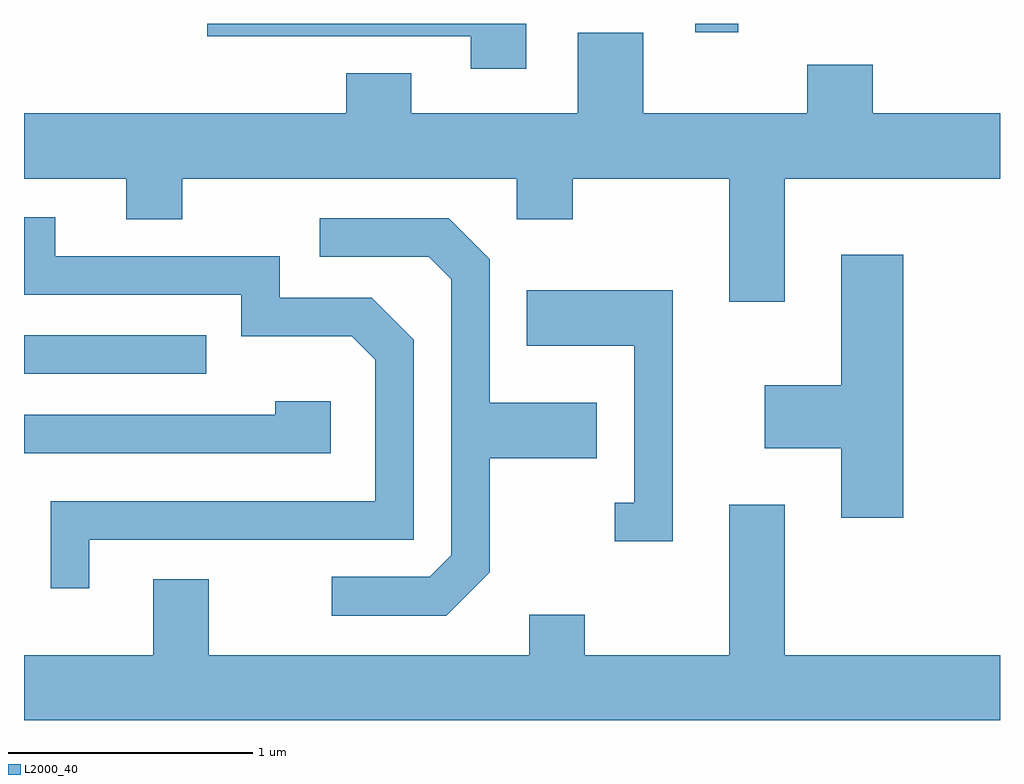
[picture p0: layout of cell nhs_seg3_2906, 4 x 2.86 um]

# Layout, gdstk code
import gdstk
lib = gdstk.Library(unit=1e-6, precision=1e-09)
def R(c, l, rs):  # rectangles x0, y0, x1, y1
    for r in rs: c.add(gdstk.rectangle(r[:2], r[2:], *l))
def P(c, l, *ps):  # polygons
    for p in ps: c.add(gdstk.Polygon(p, *l))
L2000_40 = (2000, 40)

nhs_seg3_2906 = lib.new_cell('nhs_seg3_2906')
R(nhs_seg3_2906, L2000_40, [(269.611,1218.456,270.358,1218.614), (272.361,1219.856,272.539,1219.892), (272.716,1219.891,273.568,1219.892)])
P(nhs_seg3_2906, L2000_40, [(271.669,1219.892),(270.361,1219.892),(270.361,1219.841),(271.441,1219.841),(271.441,1219.706),(271.669,1219.706)],
  [(272.729,1219.256),(273.611,1219.256),(273.611,1219.524),(273.089,1219.524),(273.089,1219.724),(272.821,1219.724),(272.821,1219.524),(272.149,1219.524),(272.149,1219.854),(271.881,1219.854),(271.881,1219.524),(271.199,1219.524),(271.199,1219.689),(270.931,1219.689),(270.931,1219.524),(269.611,1219.524),(269.611,1219.256),(270.031,1219.256),(270.031,1219.091),(270.259,1219.091),(270.259,1219.256),(271.631,1219.256),(271.631,1219.091),(271.859,1219.091),(271.859,1219.256),(272.501,1219.256),(272.501,1218.751),(272.729,1218.751)],
  [(269.879,1217.776),(271.209,1217.776),(271.209,1218.597),(271.037,1218.769),(270.659,1218.769),(270.659,1218.939),(269.739,1218.939),(269.739,1219.099),(269.611,1219.099),(269.611,1218.781),(270.501,1218.781),(270.501,1218.611),(270.954,1218.611),(271.051,1218.514),(271.051,1217.934),(269.721,1217.934),(269.721,1217.578),(269.879,1217.578)],
  [(271.519,1217.644),(271.519,1218.111),(271.959,1218.111),(271.959,1218.339),(271.519,1218.339),(271.519,1218.927),(271.352,1219.094),(270.823,1219.094),(270.823,1218.936),(271.269,1218.936),(271.361,1218.844),(271.361,1217.712),(271.274,1217.624),(270.873,1217.624),(270.873,1217.466),(271.342,1217.466)],
  [(273.214,1218.944),(272.961,1218.944),(272.961,1218.409),(272.646,1218.409),(272.646,1218.151),(272.961,1218.151),(272.961,1217.866),(273.214,1217.866)],
  [(272.269,1218.799),(271.671,1218.799),(271.671,1218.571),(272.111,1218.571),(272.111,1217.929),(272.033,1217.929),(272.033,1217.771),(272.269,1217.771)],
  [(270.869,1218.344),(270.641,1218.344),(270.641,1218.289),(269.611,1218.289),(269.611,1218.131),(270.869,1218.131)],
  [(273.611,1217.304),(272.729,1217.304),(272.729,1217.919),(272.501,1217.919),(272.501,1217.304),(271.909,1217.304),(271.909,1217.469),(271.681,1217.469),(271.681,1217.304),(270.369,1217.304),(270.369,1217.614),(270.141,1217.614),(270.141,1217.304),(269.611,1217.304),(269.611,1217.036),(273.611,1217.036)])

lib.write_gds('nhs_seg3_2906.gds')
